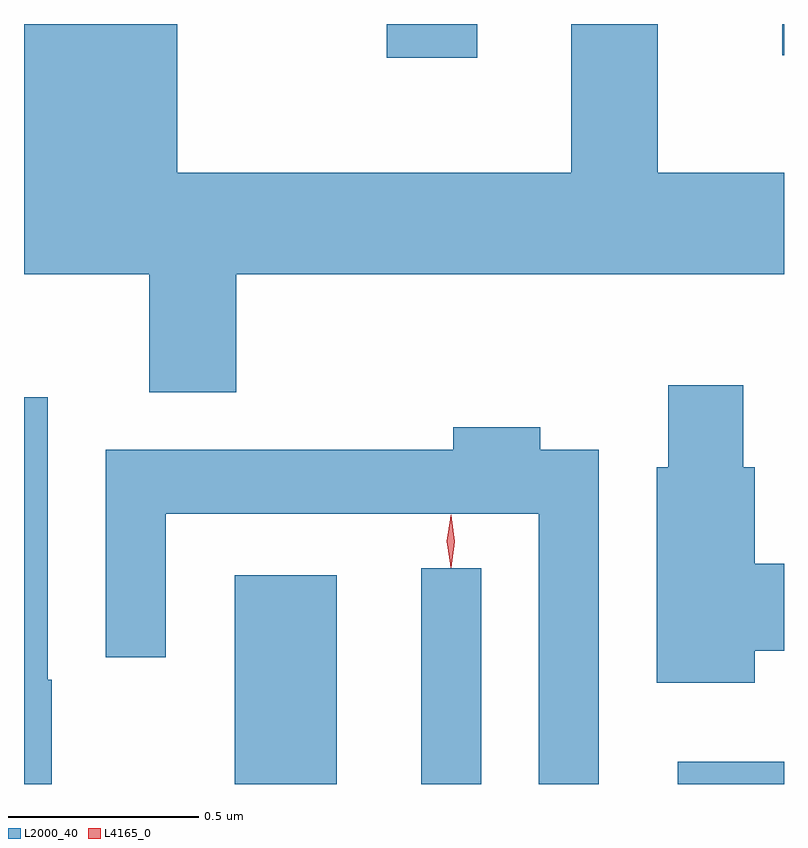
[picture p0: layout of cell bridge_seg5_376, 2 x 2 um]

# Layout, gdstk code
import gdstk
lib = gdstk.Library(unit=1e-6, precision=1e-09)
def R(c, l, rs):  # rectangles x0, y0, x1, y1
    for r in rs: c.add(gdstk.rectangle(r[:2], r[2:], *l))
def P(c, l, *ps):  # polygons
    for p in ps: c.add(gdstk.Polygon(p, *l))
L2000_40 = (2000, 40)
L4165_0 = (4165, 0)

bridge_seg5_376 = lib.new_cell('bridge_seg5_376')
R(bridge_seg5_376, L2000_40, [(776.186,1439.915,776.454,1440.464), (776.676,1439.915,776.834,1440.483), (777.351,1439.915,777.631,1439.974), (776.586,1441.826,776.824,1441.915), (777.626,1441.833,777.631,1441.915)])
P(bridge_seg5_376, L2000_40, [(776.189,1441.256),(777.631,1441.256),(777.631,1441.524),(777.299,1441.524),(777.299,1441.915),(777.071,1441.915),(777.071,1441.524),(776.034,1441.524),(776.034,1441.915),(775.631,1441.915),(775.631,1441.256),(775.961,1441.256),(775.961,1440.946),(776.189,1440.946)],
  [(777.554,1440.266),(777.631,1440.266),(777.631,1440.494),(777.554,1440.494),(777.554,1440.749),(777.524,1440.749),(777.524,1440.964),(777.326,1440.964),(777.326,1440.749),(777.296,1440.749),(777.296,1440.181),(777.554,1440.181)],
  [(775.704,1440.19),(775.694,1440.19),(775.694,1440.933),(775.631,1440.933),(775.631,1439.915),(775.704,1439.915)],
  [(777.144,1440.794),(776.989,1440.794),(776.989,1440.854),(776.761,1440.854),(776.761,1440.794),(775.846,1440.794),(775.846,1440.248),(776.004,1440.248),(776.004,1440.626),(776.986,1440.626),(776.986,1439.915),(777.144,1439.915)])
P(bridge_seg5_376, L4165_0, [(776.754,1440.487),(776.754,1440.487),(776.744,1440.554),(776.754,1440.62),(776.754,1440.62),(776.754,1440.62),(776.764,1440.554),(776.755,1440.487)],
  [(776.754,1440.484),(776.745,1440.553),(776.754,1440.622),(776.755,1440.623),(776.755,1440.622),(776.765,1440.553),(776.755,1440.484),(776.755,1440.484)])

lib.write_gds('bridge_seg5_376.gds')
